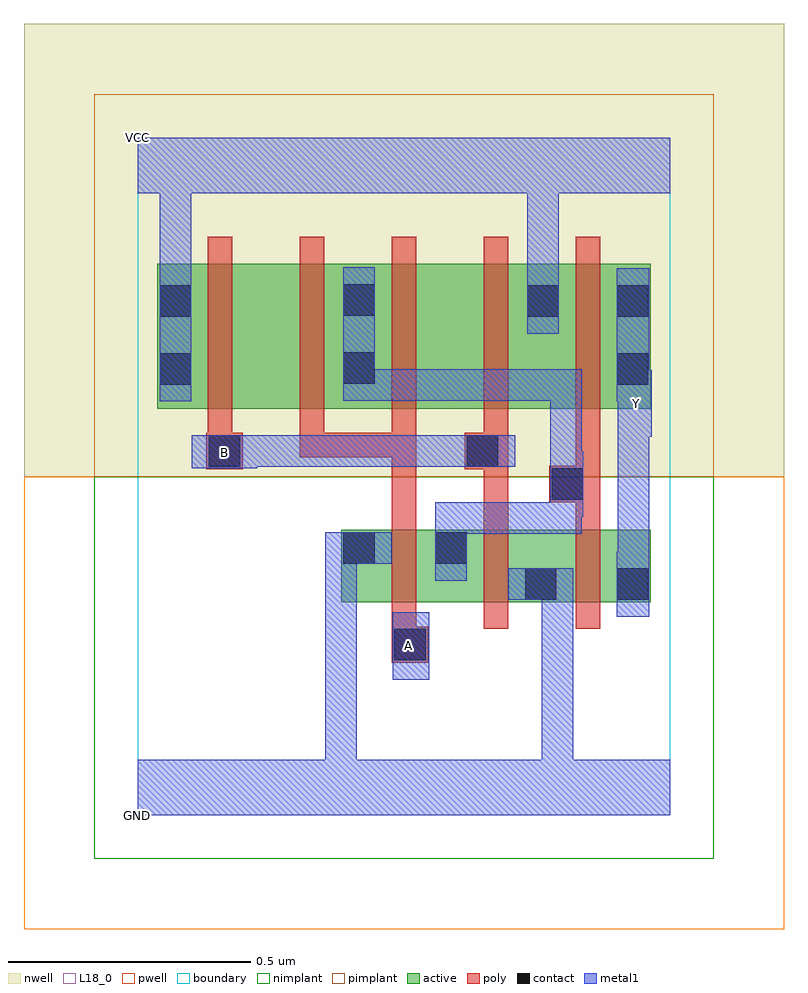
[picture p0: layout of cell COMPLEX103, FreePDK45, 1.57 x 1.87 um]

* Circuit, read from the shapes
.subckt COMPLEX103 A B GND VCC Y
M1 n1 A GND VSUBS nfet w=0.15u l=0.05u
M2 GND B n1 VSUBS nfet w=0.15u l=0.05u
M3 Y n1 GND VSUBS nfet w=0.15u l=0.05u
M4 n2 B VCC n3 pfet w=0.3u l=0.05u
M5 n1 A n2 n3 pfet w=0.3u l=0.05u
M6 n4 A n1 n3 pfet w=0.3u l=0.05u
M7 VCC B n4 n3 pfet w=0.3u l=0.05u
M8 Y n1 VCC n3 pfet w=0.3u l=0.05u
.ends

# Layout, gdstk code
import gdstk
lib = gdstk.Library(unit=1e-6, precision=1e-09)
def R(c, l, rs):  # rectangles x0, y0, x1, y1
    for r in rs: c.add(gdstk.rectangle(r[:2], r[2:], *l))
def A(c, l, x, y, w, h, nx, ny, dx, dy):  # array of equal rectangles
    R(c, l, [(x+i*dx, y+j*dy, x+i*dx+w, y+j*dy+h) for i in range(nx) for j in range(ny)])
active = (1, 0)
pwell = (2, 0)
nwell = (3, 0)
nimplant = (4, 0)
pimplant = (5, 0)
poly = (9, 0)
contact = (10, 0)
metal1 = (11, 0)
L18_0 = (18, 0)
boundary = (235, 0)

complex103 = lib.new_cell('COMPLEX103')
A(complex103, active, 0.04, 0.84, 0.075, 0.3, 3, 1, 0.38, 0)
R(complex103, active, [(0.42,0.44,0.685,0.59), (0.61,0.44,0.87,0.59), (0.795,0.44,1.06,0.59), (0.795,0.44,0.87,0.515), (0.985,0.44,1.06,0.59), (0.42,0.495,0.495,0.59), (0.61,0.495,0.685,0.59), (0.04,0.84,0.265,1.14), (0.265,0.84,0.495,1.14), (0.42,0.84,0.645,1.14), (0.645,0.84,0.875,1.14), (0.8,0.84,1.06,1.14), (0.985,0.84,1.06,1.14)])
R(complex103, pwell, [(-0.235,-0.235,1.335,0.7)])
R(complex103, nwell, [(-0.235,0.7,1.335,1.635)])
R(complex103, nimplant, [(-0.09,-0.09,1.19,0.7)])
R(complex103, pimplant, [(-0.09,0.7,1.19,1.49)])
A(complex103, poly, 0.525, 0.385, 0.05, 0.26, 3, 1, 0.19, 0)
A(complex103, poly, 0.145, 0.74, 0.05, 0.095, 4, 1, 0.19, 0)
A(complex103, poly, 0.145, 0.785, 0.05, 0.41, 5, 1, 0.19, 0)
R(complex103, poly, [(0.525,0.315,0.6,0.39), (0.525,0.34,0.575,0.435), (0.525,0.595,0.575,0.79), (0.715,0.595,0.765,0.765), (0.905,0.595,0.955,0.697), (0.85,0.647,0.955,0.722), (0.905,0.672,0.955,0.835), (0.142,0.715,0.217,0.79), (0.675,0.715,0.765,0.79), (0.335,0.74,0.575,0.79), (0.335,0.74,0.385,0.79), (0.335,0.74,0.385,0.79), (0.335,0.74,0.385,0.79), (0.525,0.74,0.575,0.79)])
R(complex103, contact, [(0.53,0.32,0.595,0.385), (0.8,0.445,0.865,0.51), (0.99,0.445,1.055,0.51), (0.425,0.52,0.49,0.585), (0.615,0.52,0.68,0.585), (0.855,0.652,0.92,0.717), (0.147,0.72,0.212,0.785), (0.68,0.72,0.745,0.785), (0.045,0.89,0.11,0.955), (0.99,0.89,1.055,0.955), (0.425,0.892,0.49,0.957), (0.045,1.03,0.11,1.095), (0.805,1.03,0.87,1.095), (0.99,1.03,1.055,1.095), (0.425,1.032,0.49,1.097)])
R(complex103, metal1, [(0,0,1.1,0.115), (0.387,0.05,0.452,0.115), (0.387,0.05,0.452,0.115), (0.387,0.05,0.452,0.115), (0.387,0.05,0.452,0.115), (0.387,0.05,0.452,0.585), (0.835,0.05,0.9,0.115), (0.835,0.05,0.9,0.115), (0.835,0.05,0.9,0.115), (0.835,0.05,0.9,0.115), (0.835,0.05,0.9,0.51), (0.527,0.28,0.602,0.42), (0.99,0.41,1.057,0.545), (0.765,0.445,0.9,0.51), (0.835,0.445,0.9,0.51), (0.835,0.445,0.9,0.51), (0.992,0.48,1.057,0.847), (0.615,0.485,0.68,0.625), (0.387,0.52,0.452,0.585), (0.387,0.52,0.452,0.585), (0.387,0.52,0.525,0.585), (0.615,0.557,0.68,0.622), (0.615,0.557,0.68,0.647), (0.615,0.582,0.917,0.647), (0.852,0.582,0.917,0.647), (0.852,0.582,0.917,0.682), (0.852,0.617,0.917,0.682), (0.852,0.617,0.92,0.682), (0.852,0.617,0.917,0.922), (0.855,0.617,0.92,0.752), (0.112,0.717,0.247,0.785), (0.182,0.72,0.252,0.785), (0.187,0.72,0.252,0.785), (0.187,0.72,0.385,0.785), (0.32,0.72,0.385,0.785), (0.32,0.72,0.39,0.785), (0.325,0.72,0.39,0.785), (0.325,0.72,0.522,0.785), (0.457,0.72,0.522,0.785), (0.457,0.72,0.665,0.785), (0.6,0.72,0.665,0.785), (0.6,0.72,0.71,0.785), (0.645,0.72,0.78,0.785), (0.992,0.782,1.062,0.92), (0.045,0.855,0.11,1.13), (0.99,0.855,1.057,1.13), (0.992,0.855,1.057,0.92), (0.425,0.857,0.527,0.922), (0.425,0.857,0.49,1.132), (0.462,0.857,0.527,0.922), (0.462,0.857,0.692,0.922), (0.627,0.857,0.692,0.922), (0.627,0.857,0.692,0.922), (0.627,0.857,0.692,0.922), (0.627,0.857,0.917,0.922), (0.852,0.857,0.917,0.922), (0.805,0.995,0.87,1.13), (0.045,1.065,0.11,1.13), (0.045,1.065,0.11,1.13), (0.045,1.065,0.11,1.35), (0.805,1.065,0.87,1.13), (0.805,1.065,0.87,1.13), (0.805,1.065,0.87,1.35), (0,1.285,1.1,1.4)])
R(complex103, L18_0, [(0,0,1.1,0.115), (0.387,0.05,0.452,0.115), (0.387,0.05,0.452,0.115), (0.387,0.05,0.452,0.115), (0.387,0.05,0.452,0.115), (0.387,0.05,0.452,0.585), (0.835,0.05,0.9,0.115), (0.835,0.05,0.9,0.115), (0.835,0.05,0.9,0.115), (0.835,0.05,0.9,0.115), (0.835,0.05,0.9,0.51), (0.527,0.28,0.602,0.42), (0.527,0.317,0.592,0.382), (0.99,0.41,1.057,0.545), (0.765,0.445,0.9,0.51), (0.835,0.445,0.9,0.51), (0.835,0.445,0.9,0.51), (0.992,0.48,1.057,0.847), (0.387,0.52,0.452,0.585), (0.387,0.52,0.452,0.585), (0.387,0.52,0.525,0.585), (0.112,0.717,0.247,0.785), (0.147,0.717,0.212,0.782), (0.182,0.72,0.252,0.785), (0.187,0.72,0.252,0.785), (0.187,0.72,0.385,0.785), (0.32,0.72,0.385,0.785), (0.32,0.72,0.39,0.785), (0.325,0.72,0.39,0.785), (0.325,0.72,0.522,0.785), (0.457,0.72,0.522,0.785), (0.457,0.72,0.665,0.785), (0.6,0.72,0.665,0.785), (0.6,0.72,0.71,0.785), (0.645,0.72,0.78,0.785), (0.992,0.782,1.062,0.92), (0.997,0.817,1.062,0.882), (0.045,0.855,0.11,1.13), (0.99,0.855,1.057,1.13), (0.992,0.855,1.057,0.92), (0.805,0.995,0.87,1.13), (0.045,1.065,0.11,1.13), (0.045,1.065,0.11,1.13), (0.045,1.065,0.11,1.35), (0.805,1.065,0.87,1.13), (0.805,1.065,0.87,1.13), (0.805,1.065,0.87,1.35), (0,1.285,1.1,1.4)])
R(complex103, boundary, [(0,0,1.1,1.4)])
complex103.add(gdstk.Label('A', (0.56,0.35), layer=11, texttype=0))
complex103.add(gdstk.Label('B', (0.18,0.75), layer=11, texttype=0))
complex103.add(gdstk.Label('Y', (1.03,0.85), layer=11, texttype=0))
complex103.add(gdstk.Label('VCC', (0,1.4), layer=11, texttype=0))
complex103.add(gdstk.Label('GND', (0,0), layer=11, texttype=0))

lib.write_gds('COMPLEX103.gds')
